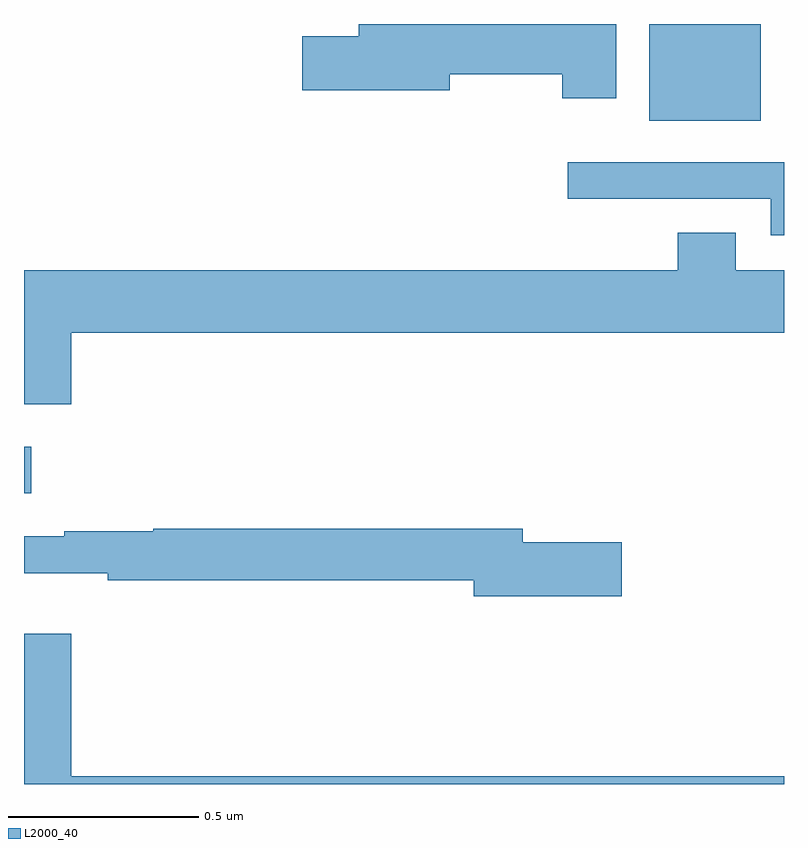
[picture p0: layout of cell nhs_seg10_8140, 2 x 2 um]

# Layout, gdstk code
import gdstk
lib = gdstk.Library(unit=1e-6, precision=1e-09)
def R(c, l, rs):  # rectangles x0, y0, x1, y1
    for r in rs: c.add(gdstk.rectangle(r[:2], r[2:], *l))
def P(c, l, *ps):  # polygons
    for p in ps: c.add(gdstk.Polygon(p, *l))
L2000_40 = (2000, 40)

nhs_seg10_8140 = lib.new_cell('nhs_seg10_8140')
R(nhs_seg10_8140, L2000_40, [(213,1261.265,213.019,1261.387), (214.646,1262.246,214.939,1262.5)])
P(nhs_seg10_8140, L2000_40, [(214.558,1262.5),(213.881,1262.5),(213.881,1262.468),(213.732,1262.468),(213.732,1262.326),(214.12,1262.326),(214.12,1262.368),(214.417,1262.368),(214.417,1262.304),(214.558,1262.304)],
  [(215,1262.136),(214.431,1262.136),(214.431,1262.04),(214.965,1262.04),(214.965,1261.944),(215,1261.944)],
  [(213.124,1261.688),(215,1261.688),(215,1261.852),(214.873,1261.852),(214.873,1261.951),(214.721,1261.951),(214.721,1261.852),(213,1261.852),(213,1261.5),(213.124,1261.5)],
  [(214.573,1261.136),(214.312,1261.136),(214.312,1261.172),(213.34,1261.172),(213.34,1261.165),(213.106,1261.165),(213.106,1261.152),(213,1261.152),(213,1261.055),(213.22,1261.055),(213.22,1261.036),(214.184,1261.036),(214.184,1260.994),(214.573,1260.994)],
  [(215,1260.52),(213.124,1260.52),(213.124,1260.895),(213,1260.895),(213,1260.5),(215,1260.5)])

lib.write_gds('nhs_seg10_8140.gds')
